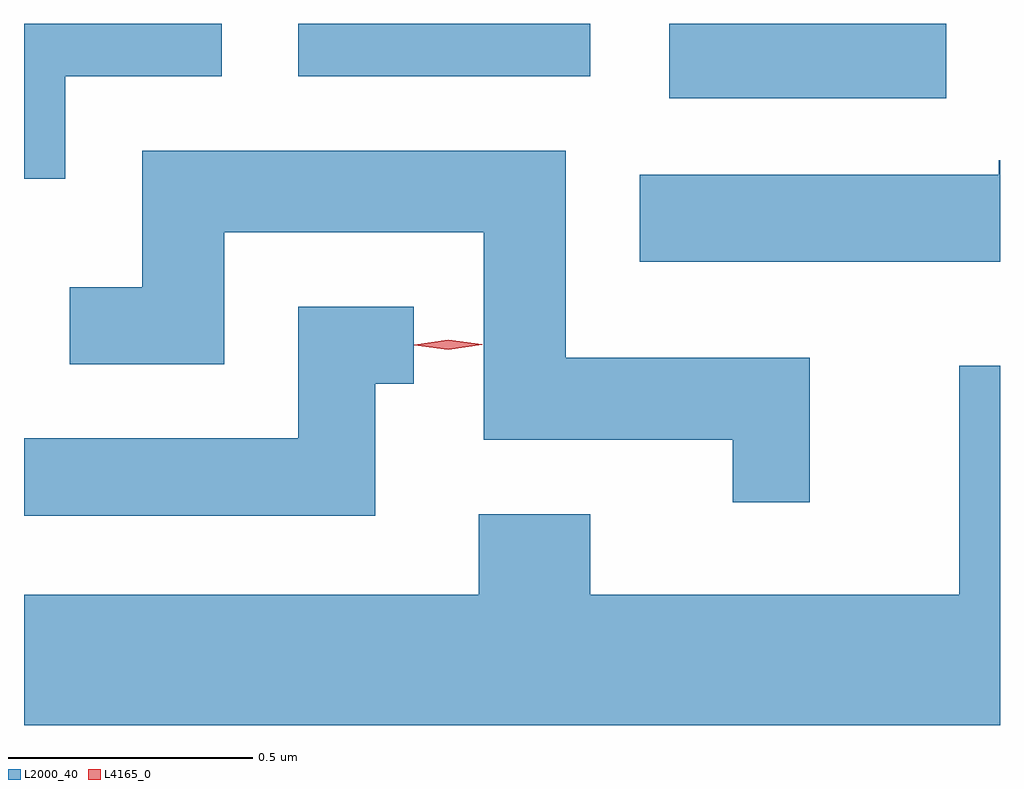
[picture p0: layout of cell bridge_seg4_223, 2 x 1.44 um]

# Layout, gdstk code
import gdstk
lib = gdstk.Library(unit=1e-6, precision=1e-09)
def R(c, l, rs):  # rectangles x0, y0, x1, y1
    for r in rs: c.add(gdstk.rectangle(r[:2], r[2:], *l))
def P(c, l, *ps):  # polygons
    for p in ps: c.add(gdstk.Polygon(p, *l))
L2000_40 = (2000, 40)
L4165_0 = (4165, 0)

bridge_seg4_223 = lib.new_cell('bridge_seg4_223')
R(bridge_seg4_223, L2000_40, [(984.191,1271.601,984.759,1271.754), (983.431,1271.646,984.029,1271.754)])
P(bridge_seg4_223, L2000_40, [(982.954,1271.646),(983.274,1271.646),(983.274,1271.754),(982.869,1271.754),(982.869,1271.436),(982.954,1271.436)],
  [(984.479,1271.069),(983.979,1271.069),(983.979,1271.494),(983.111,1271.494),(983.111,1271.214),(982.963,1271.214),(982.963,1271.056),(983.279,1271.056),(983.279,1271.326),(983.811,1271.326),(983.811,1270.901),(984.321,1270.901),(984.321,1270.773),(984.479,1270.773)],
  [(984.869,1271.474),(984.866,1271.474),(984.866,1271.444),(984.131,1271.444),(984.131,1271.266),(984.869,1271.266)],
  [(983.589,1271.016),(983.668,1271.016),(983.668,1271.174),(983.431,1271.174),(983.431,1270.904),(982.869,1270.904),(982.869,1270.746),(983.589,1270.746)],
  [(984.869,1271.053),(984.786,1271.053),(984.786,1270.584),(984.029,1270.584),(984.029,1270.749),(983.801,1270.749),(983.801,1270.584),(982.869,1270.584),(982.869,1270.316),(984.869,1270.316)])
P(bridge_seg4_223, L4165_0, [(983.738,1271.086),(983.669,1271.095),(983.669,1271.096),(983.669,1271.096),(983.738,1271.106),(983.808,1271.097),(983.808,1271.096),(983.808,1271.096)])

lib.write_gds('bridge_seg4_223.gds')
